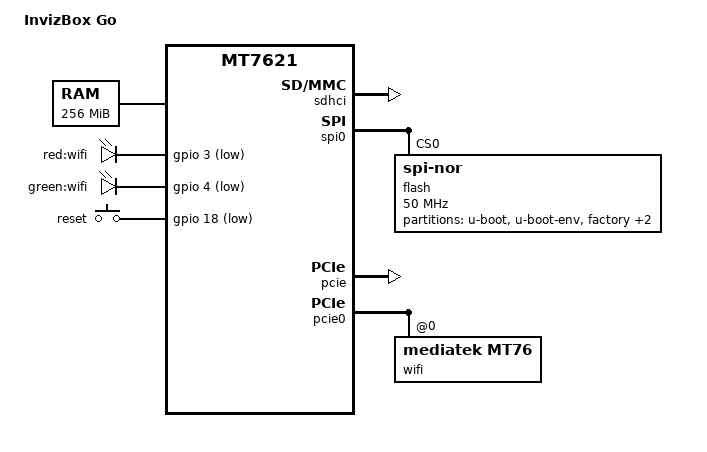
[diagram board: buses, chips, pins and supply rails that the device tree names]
// SPDX-License-Identifier: GPL-2.0-or-later OR MIT
//
// InvizBox Go — MT7621 single-radio travel router.
// Port to OpenWrt 24.10 (kernel 6.6).
//
// Delta vs InvizBox 4.4.1 DTS (invizbox/openwrt @ b434a4a, kernel 5.4):
//  - `mtd-mac-address = <&factory 0x022>` on gmac0        -> nvmem-cells (since 22.03)
//  - `mediatek,mtd-eeprom = <&factory 0x0>` on mt76       -> nvmem-cells (since 22.03)
//  - Mark u-boot and u-boot-env `read-only`               (modern safety; matches current mt7621 devices)
//  - Add `label-mac-device = &gmac0` alias                (modern convention)
//  - Add `debounce-interval = <60>` on reset key          (modern)
//  - Factory partition gets a `compatible = "nvmem-cells"` wrapper
//    so cells can be referenced by phandle
//
// Everything else is byte-compatible with the 4.4.1 DTS.  Memory, SD controller,
// SPI partitions (sizes unchanged), PCIe bring-up, state_default pinctrl all stay.

#include "mt7621.dtsi"

#include <dt-bindings/gpio/gpio.h>
#include <dt-bindings/input/input.h>

/ {
	compatible = "invizbox,invizboxgo", "mediatek,mt7621-soc";
	model = "InvizBox Go";

	memory@0 {
		device_type = "memory";
		reg = <0x0 0x10000000>;
	};

	aliases {
		led-boot = &led_wifi_green;
		led-failsafe = &led_wifi_green;
		led-running = &led_wifi_green;
		led-upgrade = &led_wifi_green;
		label-mac-device = &gmac0;
	};

	leds {
		compatible = "gpio-leds";

		red {
			label = "red:wifi";
			gpios = <&gpio 3 GPIO_ACTIVE_LOW>;
		};

		led_wifi_green: green {
			label = "green:wifi";
			gpios = <&gpio 4 GPIO_ACTIVE_LOW>;
		};
	};

	keys {
		compatible = "gpio-keys";

		reset {
			label = "reset";
			gpios = <&gpio 18 GPIO_ACTIVE_LOW>;
			debounce-interval = <60>;
			linux,code = <KEY_RESTART>;
		};
	};
};

&sdhci {
	status = "okay";
	pinctrl-names = "default";
	pinctrl-0 = <&sdhci_pins>;
};

&spi0 {
	status = "okay";

	flash@0 {
		compatible = "jedec,spi-nor";
		reg = <0>;
		spi-max-frequency = <50000000>;
		m25p,fast-read;
		broken-flash-reset;

		partitions {
			compatible = "fixed-partitions";
			#address-cells = <1>;
			#size-cells = <1>;

			partition@0 {
				label = "u-boot";
				reg = <0x0 0x30000>;
				read-only;
			};

			partition@30000 {
				label = "u-boot-env";
				reg = <0x30000 0x10000>;
				read-only;
			};

			factory: partition@40000 {
				compatible = "nvmem-cells";
				label = "factory";
				reg = <0x40000 0x10000>;
				#address-cells = <1>;
				#size-cells = <1>;
				read-only;

				eeprom_factory_0: eeprom@0 {
					reg = <0x0 0x400>;
				};

				macaddr_factory_22: macaddr@22 {
					reg = <0x22 0x6>;
				};
			};

			partition@50000 {
				compatible = "denx,uimage";
				label = "firmware";
				reg = <0x50000 0x2760000>;
			};

			partition@27b0000 {
				label = "board_data";
				reg = <0x27b0000 0x20000>;
			};
		};
	};
};

&pcie {
	status = "okay";
};

&pcie0 {
	wifi@0,0 {
		compatible = "mediatek,mt76";
		reg = <0x0000 0 0 0 0>;
		nvmem-cells = <&eeprom_factory_0>;
		nvmem-cell-names = "eeprom";
		ieee80211-freq-limit = <2400000 2500000>;
	};
};

&gmac0 {
	nvmem-cells = <&macaddr_factory_22>;
	nvmem-cell-names = "mac-address";
};

&state_default {
	gpio {
		groups = "i2c", "rgmii1", "rgmii2", "uart2", "uart3";
		function = "gpio";
	};
};
